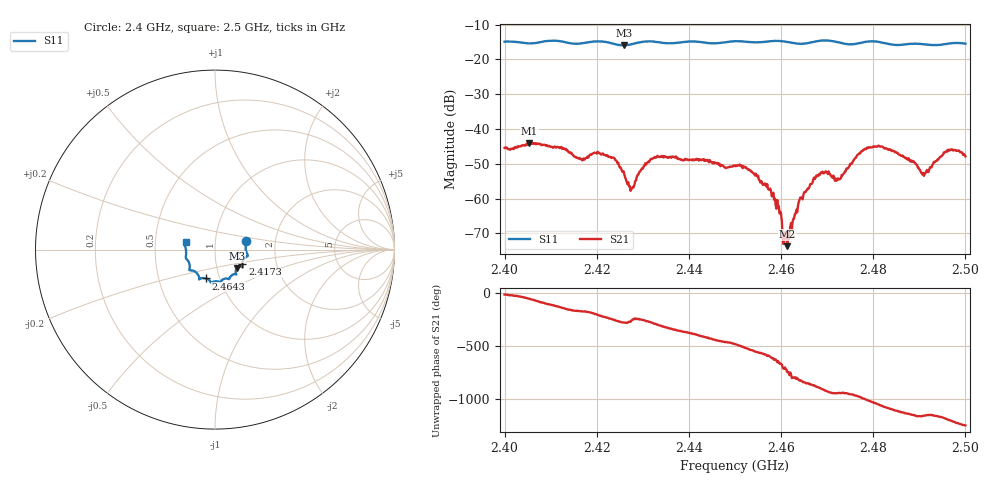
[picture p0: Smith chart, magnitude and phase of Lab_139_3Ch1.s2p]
# Hz S RI R 50
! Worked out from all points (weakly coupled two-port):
!   601 points, 2.4 GHz to 2.5 GHz, reference 50 ohm
!   highest |S21| = -44.02 dB at 2.4053 GHz (marker M1); lowest = -73.7 dB at 2.4613 GHz (marker M2)
!   lowest |S11| = -15.9 dB at 2.4258 GHz (marker M3), VSWR 1.38, Z = 62.3 - j13.3 ohm
!   |S11| at or under -10 dB: start of sweep to end of sweep
!   S12 and S22 are empty: the file has one direction only
!   S11 on the Smith chart (normalised r, x): 2.4 GHz: 1.41, +0.14; 2.4173 GHz: 1.34, -0.23; 2.4643 GHz: 0.86, -0.28; 2.5 GHz: 0.72, +0.06
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2.4e9  0.1732 0.0492  0.00506 -0.00173  0 0  0 0
2.405333e9  0.1702 0.00932  0.00332 -0.00535  0 0  0 0
2.416667e9  0.153 -0.0746  -0.00369 -0.0003  0 0  0 0
2.417333e9  0.1523 -0.0822  -0.00363 -0.000117  0 0  0 0
2.421833e9  0.1522 -0.0949  -0.00254 0.00335  0 0  0 0
2.425833e9  0.1217 -0.1037  0.000426 0.00241  0 0  0 0
2.427667e9  0.115 -0.1205  -0.000278 0.00137  0 0  0 0
2.43e9  0.1175 -0.1361  -0.000518 0.00264  0 0  0 0
2.433333e9  0.1129 -0.1368  0.00226 0.00331  0 0  0 0
2.45e9  0.0294 -0.1809  -0.00168 -0.00247  0 0  0 0
2.457167e9  -0.0144 -0.1812  -0.000808 0.00111  0 0  0 0
2.460833e9  -0.0257 -0.1792  0.000312 9.55e-05  0 0  0 0
2.461333e9  -0.0271 -0.1765  0.000183 -9.44e-05  0 0  0 0
2.464333e9  -0.05 -0.1606  -0.000296 -0.000983  0 0  0 0
2.466667e9  -0.076 -0.1595  -0.00135 -0.000901  0 0  0 0
2.469167e9  -0.0877 -0.1662  -0.00225 0.00045  0 0  0 0
2.4725e9  -0.0889 -0.1517  -0.00136 0.0013  0 0  0 0
2.478333e9  -0.137 -0.1156  0.00121 0.00507  0 0  0 0
2.483333e9  -0.1408 -0.0899  0.00497 -0.000676  0 0  0 0
2.490833e9  -0.162 -0.0355  0.000553 -0.00227  0 0  0 0
2.495833e9  -0.1664 0.0176  -0.00128 -0.00452  0 0  0 0
2.5e9  -0.1636 0.0417  -0.00396 -0.00082  0 0  0 0
